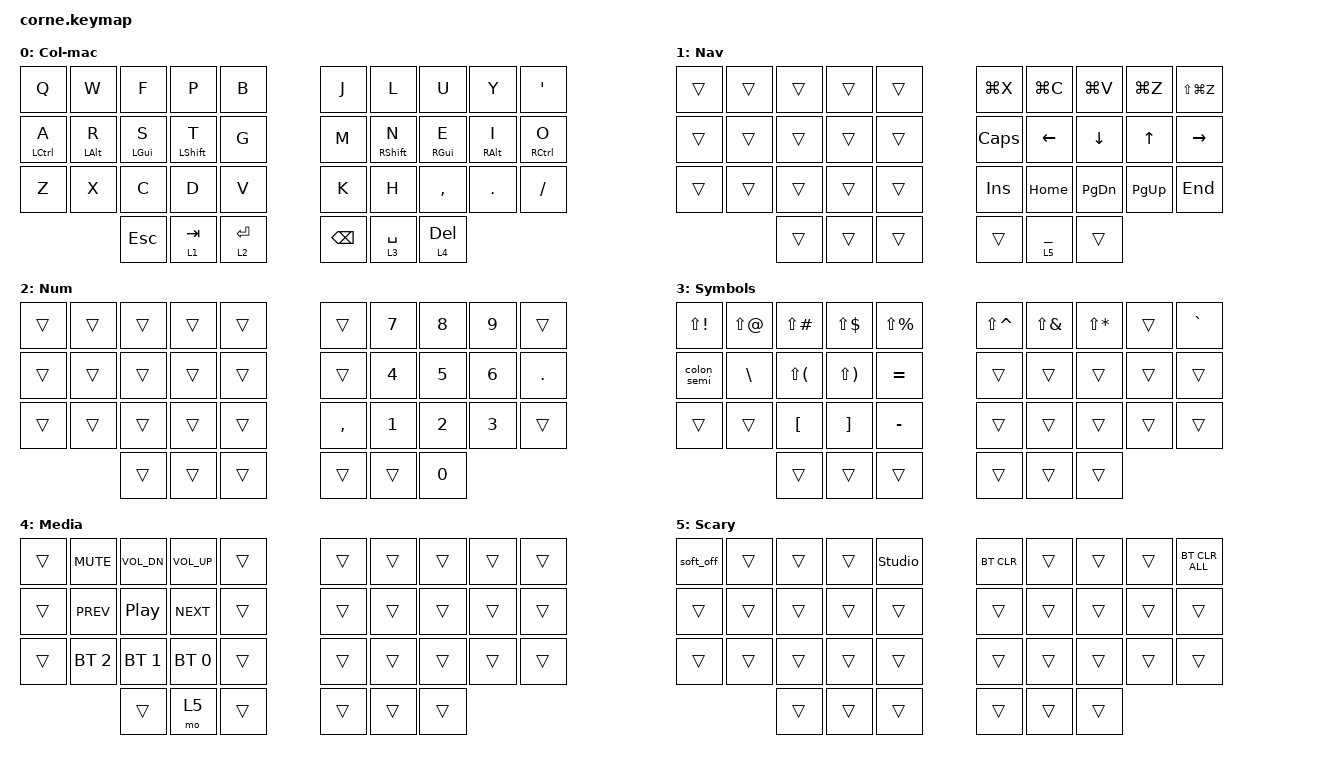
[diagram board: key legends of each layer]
/*
 * Copyright (c) 2020 The ZMK Contributors
 *
 * SPDX-License-Identifier: MIT
 */

#include <behaviors.dtsi>
#include <dt-bindings/zmk/bt.h>
#include <dt-bindings/zmk/keys.h>

/ {
    chosen {
        zmk,physical-layout = &foostan_corne_5col_layout;
        zmk,matrix_transform = &five_column_transform;

        /delete-property/ zmk,matrix_transform;
    };
};

/ {
    // --- Macros for switching device + layer simultaneously ---

    macros {
    };

    behaviors {
        hml: homerow_mods_left {
            compatible = "zmk,behavior-hold-tap";
            display-name = "HML";
            #binding-cells = <2>;
            bindings = <&kp>, <&kp>;

            flavor = "balanced";
            tapping-term-ms = <280>;
            quick-tap-ms = <175>;
            require-prior-idle-ms = <60>;
            hold-trigger-key-positions = <5 6 7 8 9 15 16 17 18 19 25 26 27 28 29 33 34 35>;
            hold-trigger-on-release;
        };

        hmr: homerow_mods_right {
            compatible = "zmk,behavior-hold-tap";
            display-name = "HMR";
            #binding-cells = <2>;
            bindings = <&kp>, <&kp>;

            flavor = "balanced";
            tapping-term-ms = <280>;
            quick-tap-ms = <175>;
            require-prior-idle-ms = <60>;
            hold-trigger-key-positions = <0 1 2 3 4 10 11 12 13 14 20 21 22 23 24 30 31 32 33 35>;
            hold-trigger-on-release;
        };

        hml_shift: homerow_mods_left_shift {
            compatible = "zmk,behavior-hold-tap";
            display-name = "HML Shift";
            #binding-cells = <2>;
            bindings = <&kp>, <&kp>;

            flavor = "balanced";
            tapping-term-ms = <200>;
            quick-tap-ms = <175>;
            require-prior-idle-ms = <30>;
            hold-trigger-key-positions = <5 6 7 8 9 15 16 17 18 19 25 26 27 28 29 33 34 35>;
        };

        hmr_shift: homerow_mods_right_shift {
            compatible = "zmk,behavior-hold-tap";
            display-name = "HMR Shift";
            #binding-cells = <2>;
            bindings = <&kp>, <&kp>;

            flavor = "balanced";
            tapping-term-ms = <200>;
            quick-tap-ms = <175>;
            require-prior-idle-ms = <30>;
            hold-trigger-key-positions = <0 1 2 3 4 10 11 12 13 14 20 21 22 23 24 30 31 32>;
        };

        lm: lm {
            compatible = "zmk,behavior-macro-two-param";
            display-name = "LM";
            wait-ms = <0>;
            tap-ms = <0>;
            #binding-cells = <2>;
            bindings =
                <&macro_param_1to1>,
                <&macro_press>,
                <&mo MACRO_PLACEHOLDER &macro_param_2to1>,
                <&macro_press>,
                <&kp MACRO_PLACEHOLDER>,
                <&macro_pause_for_release>,
                <&macro_param_2to1>,
                <&macro_release>,
                <&kp MACRO_PLACEHOLDER &macro_param_1to1>,
                <&macro_release>,
                <&mo MACRO_PLACEHOLDER>;
        };

        colon_semi: colon_semi {
            compatible = "zmk,behavior-mod-morph";
            display-name = "Colon/Semi";
            #binding-cells = <0>;
            bindings = <&kp COLON>, <&kp SEMI>;

            mods = <(MOD_LSFT|MOD_RSFT)>;
        };
    };

    keymap {
        compatible = "zmk,keymap";

        Col-mac {
            bindings = <
  &kp Q         &kp W        &kp F        &kp P               &kp B          &kp J          &kp L               &kp U         &kp Y        &kp APOSTROPHE
  &hml LCTRL A  &hml LALT R  &hml LGUI S  &hml_shift LSHFT T  &kp G          &kp M          &hmr_shift RSHFT N  &hmr RGUI E   &hmr RALT I  &hmr RCTRL O
  &kp Z         &kp X        &kp C        &kp D               &kp V          &kp K          &kp H               &kp COMMA     &kp DOT      &kp FSLH
                             &kp ESC      &lt 1 TAB           &lt 2 ENTER    &kp BACKSPACE  &lt 3 SPACE         &lt 4 DELETE
            >;
        };

        Nav {
            bindings = <
  &trans  &trans  &trans  &trans  &trans    &kp LG(X)     &kp LG(C)         &kp LG(V)       &kp LG(Z)     &kp LS(LG(Z))
  &trans  &trans  &trans  &trans  &trans    &kp CAPSLOCK  &kp LEFT_ARROW    &kp DOWN_ARROW  &kp UP_ARROW  &kp RIGHT
  &trans  &trans  &trans  &trans  &trans    &kp INSERT    &kp HOME          &kp PAGE_DOWN   &kp PAGE_UP   &kp END
                  &trans  &trans  &trans    &trans        &lt 5 UNDERSCORE  &trans
            >;
        };

        Num {
            bindings = <
  &trans  &trans  &trans  &trans  &trans    &trans     &kp N7  &kp N8        &kp N9  &trans
  &trans  &trans  &trans  &trans  &trans    &trans     &kp N4  &kp N5        &kp N6  &kp PERIOD
  &trans  &trans  &trans  &trans  &trans    &kp COMMA  &kp N1  &kp N2        &kp N3  &trans
                  &trans  &trans  &trans    &trans     &trans  &kp NUMBER_0
            >;
        };

        Symbols {
            bindings = <
  &kp LS(EXCL)  &kp LS(AT)  &kp LS(POUND)  &kp LS(DLLR)  &kp LS(PRCNT)    &kp LS(CARET)  &kp LS(AMPS)  &kp LS(STAR)  &trans  &kp GRAVE
  &colon_semi   &kp BSLH    &kp LS(LPAR)   &kp LS(RPAR)  &kp EQUAL        &trans         &trans        &trans        &trans  &trans
  &trans        &trans      &kp LBKT       &kp RBKT      &kp MINUS        &trans         &trans        &trans        &trans  &trans
                            &trans         &trans        &trans           &trans         &trans        &trans
            >;
        };

        Media {
            bindings = <
  &trans  &kp C_MUTE    &kp C_VOL_DN  &kp C_VOL_UP  &trans    &trans  &trans  &trans  &trans  &trans
  &trans  &kp C_PREV    &kp C_PP      &kp C_NEXT    &trans    &trans  &trans  &trans  &trans  &trans
  &trans  &bt BT_SEL 2  &bt BT_SEL 1  &bt BT_SEL 0  &trans    &trans  &trans  &trans  &trans  &trans
                        &trans        &mo 5         &trans    &trans  &trans  &trans
            >;
        };

        Scary {
            bindings = <
  &soft_off  &trans  &trans  &trans  &studio_unlock    &bt BT_CLR  &trans  &trans  &trans  &bt BT_CLR_ALL
  &trans     &trans  &trans  &trans  &trans            &trans      &trans  &trans  &trans  &trans
  &trans     &trans  &trans  &trans  &trans            &trans      &trans  &trans  &trans  &trans
                     &trans  &trans  &trans            &trans      &trans  &trans
            >;
        };
    };
};
